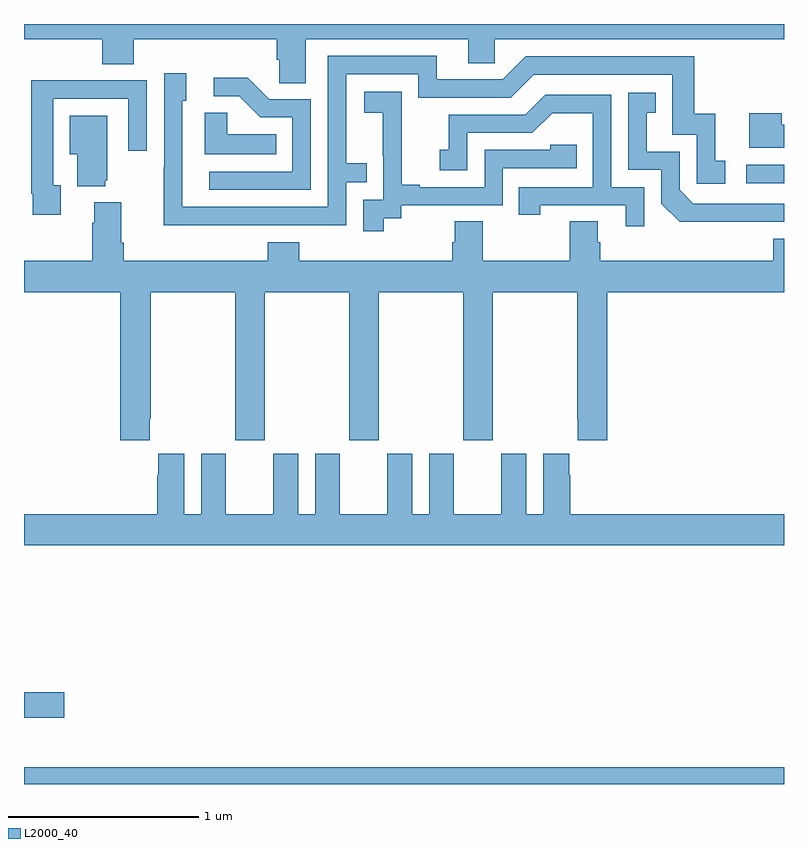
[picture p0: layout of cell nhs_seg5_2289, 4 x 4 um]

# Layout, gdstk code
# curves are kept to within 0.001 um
import gdstk
lib = gdstk.Library(unit=1e-6, precision=1e-09)
def R(c, l, rs):  # rectangles x0, y0, x1, y1
    for r in rs: c.add(gdstk.rectangle(r[:2], r[2:], *l))
def P(c, l, *ps):  # polygons
    for p in ps: c.add(gdstk.Polygon(p, *l))
L2000_40 = (2000, 40)

nhs_seg5_2289 = lib.new_cell('nhs_seg5_2289')
R(nhs_seg5_2289, L2000_40, [(243,892.799,247,892.888), (243,893.147,243.211,893.282), (246.801,895.962,247,896.058)])
P(nhs_seg5_2289, L2000_40, [(244.483,896.72),(245.339,896.72),(245.339,896.593),(245.478,896.593),(245.478,896.72),(247,896.72),(247,896.799),(243,896.799),(243,896.72),(243.413,896.72),(243.413,896.587),(243.578,896.587),(243.578,896.72),(244.331,896.72),(244.331,896.611),(244.344,896.611),(244.344,896.488),(244.483,896.488)],
  [(244.199,895.74),(244.695,895.74),(244.695,895.965),(244.805,895.965),(244.805,896.066),(244.695,896.066),(244.695,896.535),(245.076,896.535),(245.076,896.412),(245.562,896.412),(245.682,896.532),(246.411,896.532),(246.411,896.217),(246.54,896.217),(246.54,895.959),(246.691,895.959),(246.691,896.079),(246.638,896.079),(246.638,896.326),(246.527,896.326),(246.527,896.628),(245.64,896.628),(245.52,896.508),(245.173,896.508),(245.173,896.631),(244.599,896.631),(244.599,895.836),(243.834,895.836),(243.834,896.394),(243.853,896.394),(243.853,896.539),(243.738,896.539),(243.738,896.045),(243.736,896.045),(243.736,895.739)],
  [(244.509,896.403),(244.29,896.403),(244.177,896.516),(243.999,896.516),(243.999,896.418),(244.133,896.418),(244.244,896.307),(244.413,896.307),(244.413,896.022),(243.975,896.022),(243.975,895.926),(244.509,895.926)],
  [(243.193,895.95),(243.153,895.95),(243.153,896.406),(243.549,896.406),(243.549,896.133),(243.645,896.133),(243.645,896.502),(243.329,896.502),(243.329,896.504),(243.037,896.504),(243.037,895.906),(243.045,895.906),(243.045,895.794),(243.193,895.794)],
  [(244.894,895.777),(244.986,895.777),(244.986,895.845),(245.52,895.845),(245.52,896.04),(245.909,896.04),(245.909,896.163),(245.769,896.163),(245.769,896.136),(245.424,896.136),(245.424,895.941),(245.083,895.941),(245.083,895.954),(244.988,895.954),(244.988,896.237),(244.989,896.237),(244.989,896.443),(244.791,896.443),(244.791,896.333),(244.889,896.333),(244.889,896.105),(244.89,896.105),(244.89,895.875),(244.785,895.875),(244.785,895.707),(244.894,895.707)],
  [(246.86,895.758),(247,895.758),(247,895.854),(246.522,895.854),(246.45,895.926),(246.45,896.127),(246.277,896.127),(246.277,896.331),(246.326,896.331),(246.326,896.437),(246.18,896.437),(246.18,896.031),(246.354,896.031),(246.354,895.854),(246.452,895.757)],
  [(246.264,895.941),(246.09,895.941),(246.09,896.427),(245.744,896.427),(245.639,896.322),(245.236,896.322),(245.236,896.137),(245.187,896.137),(245.187,896.028),(245.334,896.028),(245.334,896.226),(245.676,896.226),(245.78,896.33),(245.994,896.33),(245.994,895.941),(245.605,895.941),(245.605,895.794),(245.716,895.794),(245.716,895.845),(246.167,895.845),(246.167,895.734),(246.264,895.734)],
  [(244.328,896.218),(244.071,896.218),(244.071,896.333),(243.95,896.333),(243.95,896.114),(244.328,896.114)],
  [(247,896.269),(246.989,896.269),(246.989,896.329),(246.818,896.329),(246.818,896.147),(247,896.147)],
  [(243.428,895.977),(243.439,895.977),(243.439,896.317),(243.242,896.317),(243.242,896.114),(243.281,896.114),(243.281,895.946),(243.428,895.946)],
  [(245.911,894.721),(245.915,894.721),(245.915,894.609),(246.071,894.609),(246.071,895.388),(247,895.388),(247,895.669),(246.944,895.669),(246.944,895.552),(246.032,895.552),(246.032,895.65),(246.019,895.65),(246.019,895.76),(245.872,895.76),(245.872,895.552),(245.415,895.552),(245.415,895.76),(245.267,895.76),(245.267,895.65),(245.255,895.65),(245.255,895.552),(244.448,895.552),(244.448,895.651),(244.283,895.651),(244.283,895.552),(243.524,895.552),(243.524,895.648),(243.511,895.648),(243.511,895.861),(243.371,895.861),(243.371,895.754),(243.359,895.754),(243.359,895.552),(243,895.552),(243,895.388),(243.506,895.388),(243.506,894.609),(243.661,894.609),(243.661,894.721),(243.666,894.721),(243.666,895.388),(244.111,895.388),(244.111,894.609),(244.266,894.609),(244.266,895.388),(244.711,895.388),(244.711,894.609),(244.866,894.609),(244.866,895.388),(245.311,895.388),(245.311,894.609),(245.466,894.609),(245.466,895.388),(245.911,895.388)],
  [(247,894.22),(245.876,894.22),(245.876,894.425),(245.869,894.425),(245.869,894.538),(245.732,894.538),(245.732,894.22),(245.644,894.22),(245.644,894.538),(245.513,894.538),(245.513,894.22),(245.263,894.22),(245.263,894.538),(245.132,894.538),(245.132,894.22),(245.044,894.22),(245.044,894.538),(244.913,894.538),(244.913,894.22),(244.663,894.22),(244.663,894.538),(244.532,894.538),(244.532,894.22),(244.444,894.22),(244.444,894.538),(244.313,894.538),(244.313,894.22),(244.063,894.22),(244.063,894.538),(243.932,894.538),(243.932,894.22),(243.844,894.22),(243.844,894.538),(243.707,894.538),(243.707,894.425),(243.701,894.425),(243.701,894.22),(243,894.22),(243,894.056),(247,894.056)])

lib.write_gds('nhs_seg5_2289.gds')
